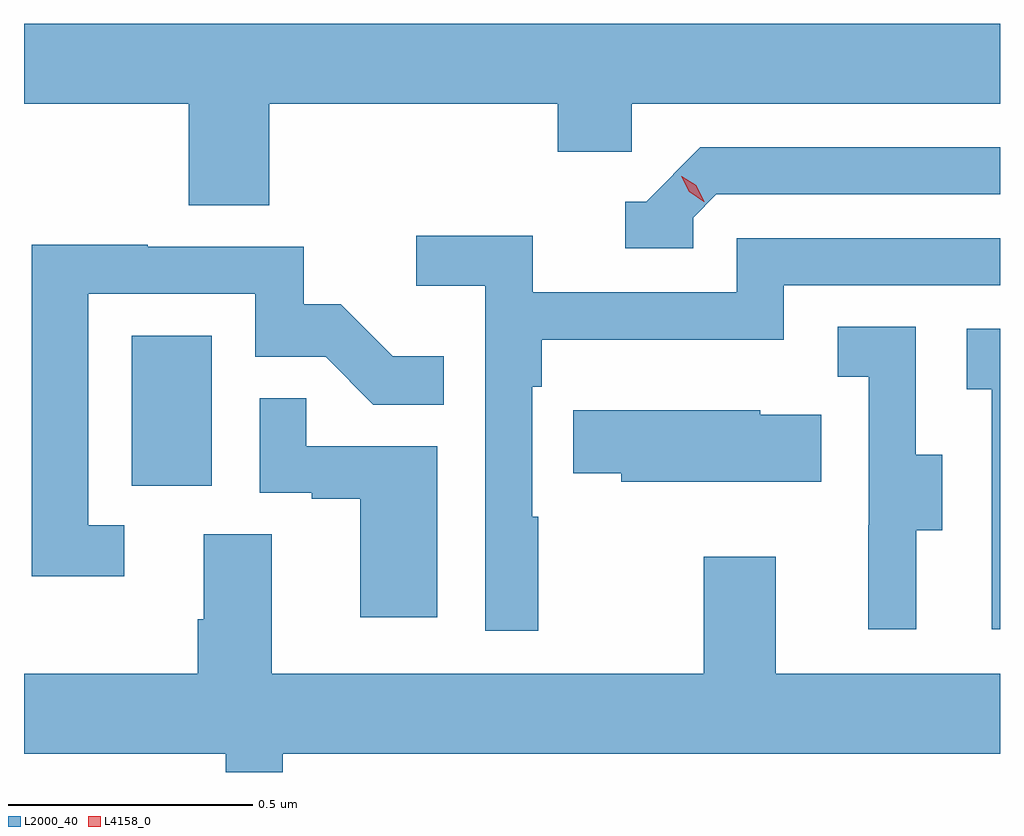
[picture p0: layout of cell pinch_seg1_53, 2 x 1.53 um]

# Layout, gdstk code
import gdstk
lib = gdstk.Library(unit=1e-6, precision=1e-09)
def R(c, l, rs):  # rectangles x0, y0, x1, y1
    for r in rs: c.add(gdstk.rectangle(r[:2], r[2:], *l))
def P(c, l, *ps):  # polygons
    for p in ps: c.add(gdstk.Polygon(p, *l))
L2000_40 = (2000, 40)
L4158_0 = (4158, 0)

pinch_seg1_53 = lib.new_cell('pinch_seg1_53')
R(pinch_seg1_53, L2000_40, [(1066.418,577.59,1066.582,577.897)])
P(pinch_seg1_53, L2000_40, [(1066.7,578.372),(1067.291,578.372),(1067.291,578.274),(1067.442,578.274),(1067.442,578.372),(1068.197,578.372),(1068.197,578.536),(1066.197,578.536),(1066.197,578.372),(1066.535,578.372),(1066.535,578.164),(1066.7,578.164)],
  [(1067.568,578.139),(1067.616,578.187),(1068.197,578.187),(1068.197,578.283),(1067.583,578.283),(1067.472,578.172),(1067.429,578.172),(1067.429,578.076),(1067.568,578.076)],
  [(1067.251,577.526),(1067.238,577.526),(1067.238,577.793),(1067.258,577.793),(1067.258,577.889),(1067.754,577.889),(1067.754,578.001),(1068.197,578.001),(1068.197,578.097),(1067.658,578.097),(1067.658,577.986),(1067.24,577.986),(1067.24,578.102),(1067.001,578.102),(1067.001,578),(1067.142,578),(1067.142,577.293),(1067.251,577.293)],
  [(1066.402,577.509),(1066.329,577.509),(1066.329,577.983),(1066.671,577.983),(1066.671,577.854),(1066.815,577.854),(1066.913,577.756),(1067.057,577.756),(1067.057,577.855),(1066.953,577.855),(1066.846,577.962),(1066.77,577.962),(1066.77,578.079),(1066.451,578.079),(1066.451,578.084),(1066.213,578.084),(1066.213,577.404),(1066.402,577.404)],
  [(1068.025,577.498),(1068.079,577.498),(1068.079,577.653),(1068.024,577.653),(1068.024,577.916),(1067.865,577.916),(1067.865,577.813),(1067.928,577.813),(1067.928,577.509),(1067.927,577.509),(1067.927,577.296),(1068.025,577.296)],
  [(1068.197,577.911),(1068.129,577.911),(1068.129,577.787),(1068.18,577.787),(1068.18,577.296),(1068.197,577.296)],
  [(1067.044,577.671),(1066.775,577.671),(1066.775,577.769),(1066.68,577.769),(1066.68,577.575),(1066.787,577.575),(1066.787,577.563),(1066.886,577.563),(1066.886,577.32),(1067.044,577.32)],
  [(1067.831,577.735),(1067.706,577.735),(1067.706,577.744),(1067.323,577.744),(1067.323,577.615),(1067.421,577.615),(1067.421,577.598),(1067.831,577.598)],
  [(1066.727,577.04),(1068.197,577.04),(1068.197,577.204),(1067.737,577.204),(1067.737,577.444),(1067.59,577.444),(1067.59,577.204),(1066.705,577.204),(1066.705,577.49),(1066.565,577.49),(1066.565,577.316),(1066.553,577.316),(1066.553,577.204),(1066.197,577.204),(1066.197,577.04),(1066.61,577.04),(1066.61,577.003),(1066.727,577.003)])
P(pinch_seg1_53, L4158_0, [(1067.59,578.172),(1067.56,578.192),(1067.544,578.224),(1067.544,578.224),(1067.545,578.224),(1067.575,578.205),(1067.591,578.172),(1067.591,578.172)])

lib.write_gds('pinch_seg1_53.gds')
